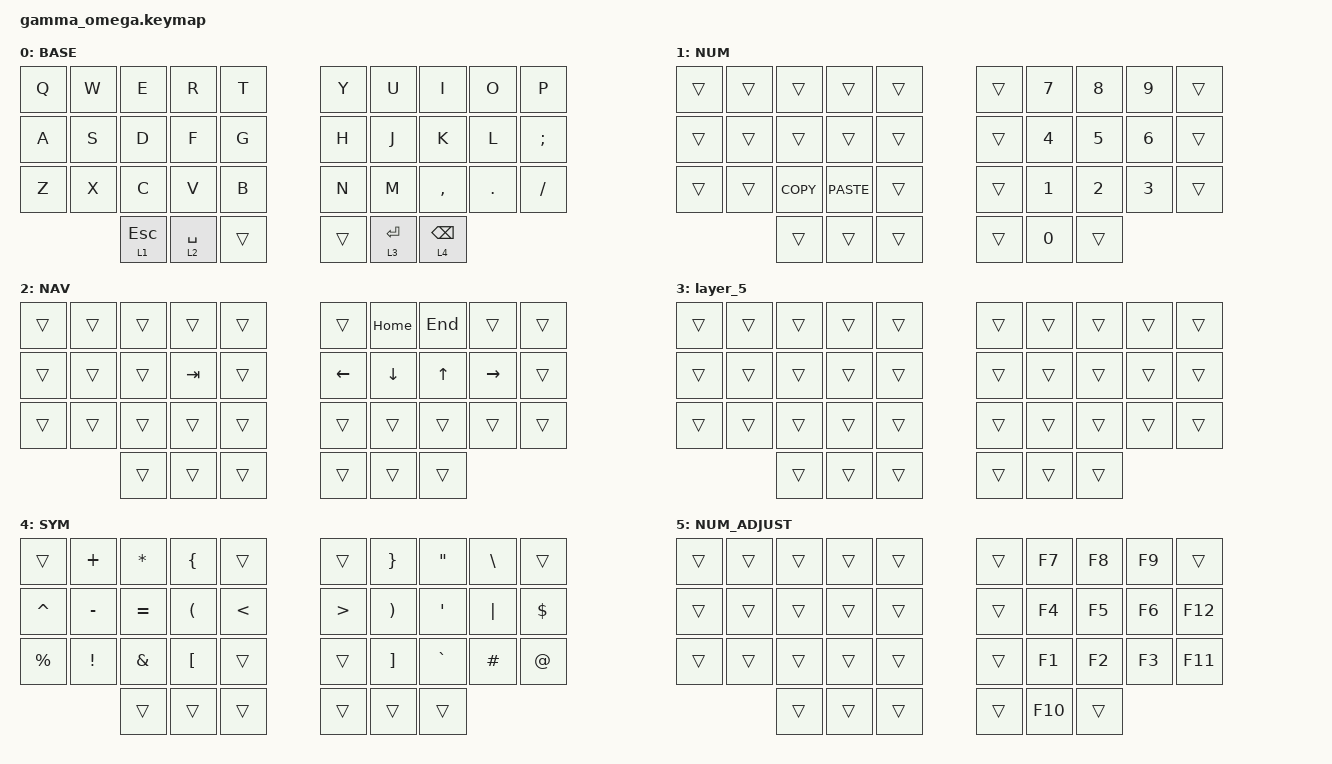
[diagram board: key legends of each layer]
#include <behaviors.dtsi>
#include <dt-bindings/zmk/keys.h>

/ {
    combos {
        compatible = "zmk,combos";

        L_Shift {
            bindings = <&kp LSHFT>;
            key-positions = <13 12>;
        };

        R_Shift {
            bindings = <&kp RSHIFT>;
            key-positions = <16 17>;
        };

        L_Ctrl {
            bindings = <&kp LCTRL>;
            key-positions = <12 11>;
        };

        R_Ctrl {
            bindings = <&kp RCTRL>;
            key-positions = <17 18>;
        };

        L_Gui {
            bindings = <&kp LEFT_GUI>;
            key-positions = <10 11>;
            timeout-ms = <70>;
        };

        R_Gui {
            bindings = <&kp RGUI>;
            key-positions = <19 18>;
            timeout-ms = <70>;
        };

        L_Alt {
            bindings = <&kp LALT>;
            key-positions = <10 13>;
        };

        R_Alt {
            bindings = <&kp RALT>;
            key-positions = <16 19>;
        };

        L_Gui_Ctrl {
            bindings = <&kp LG(RCTRL)>;
            key-positions = <10 11 12>;
        };

        R_Gui_Ctrl {
            bindings = <&kp RG(RCTRL)>;
            key-positions = <19 18 17>;
        };

        L_Ctrl_Shift {
            bindings = <&kp LC(LSHIFT)>;
            key-positions = <11 12 13>;
        };

        R_Ctrl_Shift {
            bindings = <&kp RC(RSHIFT)>;
            key-positions = <18 17 16>;
        };

        L_Gui_Alt {
            bindings = <&kp LG(LALT)>;
            key-positions = <10 11 13>;
        };

        R_Gui_Alt {
            bindings = <&kp LG(LALT)>;
            key-positions = <16 19 18>;
        };

        L_Alt_Shift {
            bindings = <&kp LA(LSHIFT)>;
            key-positions = <10 13 12>;
        };

        R_Alt_Shift {
            bindings = <&kp RA(RSHIFT)>;
            key-positions = <19 17 16>;
        };

        L_Gui_Shift {
            bindings = <&kp LG(LSHIFT)>;
            key-positions = <10 12>;
        };

        R_Gui_Shift {
            bindings = <&kp RG(RSHIFT)>;
            key-positions = <19 17>;
        };

        L_Ctrl_Alt {
            bindings = <&kp LC(LALT)>;
            key-positions = <11 13>;
        };

        R_Ctrl_Alt {
            bindings = <&kp RC(RALT)>;
            key-positions = <18 16>;
        };

        L_Gui_Ctrl_Shift {
            bindings = <&kp LG(LC(LEFT_SHIFT))>;
            key-positions = <20 21 22>;
        };

        R_Gui_Ctrl_Shift {
            bindings = <&kp RC(RG(RSHIFT))>;
            key-positions = <29 28 27>;
        };

        L_Ctrl_Shift_Alt {
            bindings = <&kp LC(LS(LALT))>;
            key-positions = <21 22 23>;
        };

        R_Ctrl_Shift_Alt {
            bindings = <&kp RS(RC(RALT))>;
            key-positions = <28 27 26>;
        };

        L_Gui_Ctrl_Alt {
            bindings = <&kp LG(LC(LALT))>;
            key-positions = <20 21 23>;
        };

        R_Gui_Ctrl_Alt {
            bindings = <&kp RC(RG(RALT))>;
            key-positions = <29 28 26>;
        };

        L_Gui_Shift_Alt {
            bindings = <&kp LG(LS(LALT))>;
            key-positions = <20 22 23>;
        };

        R_Gui_Shift_Alt {
            bindings = <&kp RS(RG(RALT))>;
            key-positions = <29 27 26>;
        };

        L_All_Mod {
            bindings = <&kp LS(LA(LC(LGUI)))>;
            key-positions = <20 21 22 23>;
        };

        R_All_Mods {
            bindings = <&kp RS(RA(RC(RGUI)))>;
            key-positions = <26 27 29 28>;
        };
    };

    keymap {
        compatible = "zmk,keymap";

        BASE {
            bindings = <
&kp Q         &kp W        &kp E   &kp R   &kp T        &kp Y            &kp U  &kp I      &kp O    &kp P
&kp A         &kp S        &kp D   &kp F   &kp G        &kp H            &kp J  &kp K      &kp L    &kp SEMI
&kp Z         &kp X        &kp C   &kp V   &kp B        &kp N            &kp M  &kp COMMA  &kp DOT  &kp SLASH
&lt 1 ESCAPE  &lt 2 SPACE  &trans  &trans  &lt 3 ENTER  &lt 4 BACKSPACE
            >;
        };

        NUM {
            bindings = <
&trans  &trans  &trans      &trans       &trans  &trans  &kp N7        &kp N8        &kp N9        &trans
&trans  &trans  &trans      &trans       &trans  &trans  &kp NUMBER_4  &kp N5        &kp NUMBER_6  &trans
&trans  &trans  &kp K_COPY  &kp K_PASTE  &trans  &trans  &kp NUMBER_1  &kp NUMBER_2  &kp NUMBER_3  &trans
&trans  &trans  &trans      &trans       &kp N0  &trans
            >;
        };

        NAV {
            bindings = <
&trans  &trans  &trans  &trans   &trans  &trans    &kp HOME  &kp END       &trans     &trans
&trans  &trans  &trans  &kp TAB  &trans  &kp LEFT  &kp DOWN  &kp UP_ARROW  &kp RIGHT  &trans
&trans  &trans  &trans  &trans   &trans  &trans    &trans    &trans        &trans     &trans
&trans  &trans  &trans  &trans   &trans  &trans
            >;
        };

        layer_5 {
            bindings = <
&trans  &trans  &trans  &trans  &trans  &trans  &trans  &trans  &trans  &trans
&trans  &trans  &trans  &trans  &trans  &trans  &trans  &trans  &trans  &trans
&trans  &trans  &trans  &trans  &trans  &trans  &trans  &trans  &trans  &trans
&trans  &trans  &trans  &trans  &trans  &trans
            >;
        };

        SYM {
            bindings = <
&trans       &kp PLUS   &kp ASTRK  &kp LEFT_BRACE        &trans  &trans  &kp RIGHT_BRACE        &kp DOUBLE_QUOTES  &kp BACKSLASH  &trans
&kp CARET    &kp MINUS  &kp EQUAL  &kp LEFT_PARENTHESIS  &kp LT  &kp GT  &kp RIGHT_PARENTHESIS  &kp APOS           &kp PIPE       &kp DOLLAR
&kp PERCENT  &kp EXCL   &kp AMPS   &kp LEFT_BRACKET      &trans  &trans  &kp RIGHT_BRACKET      &kp GRAVE          &kp HASH       &kp AT
&trans       &trans     &trans     &trans                &trans  &trans
            >;
        };

        NUM_ADJUST {
            bindings = <
&trans  &trans  &trans  &trans  &trans   &trans  &kp F7  &kp F8  &kp F9  &trans
&trans  &trans  &trans  &trans  &trans   &trans  &kp F4  &kp F5  &kp F6  &kp F12
&trans  &trans  &trans  &trans  &trans   &trans  &kp F1  &kp F2  &kp F3  &kp F11
&trans  &trans  &trans  &trans  &kp F10  &trans
            >;
        };
    };

    conditional_layers {
        compatible = "zmk,conditional-layers";

        num_adjust {
            if-layers = <1 4>;
            then-layer = <5>;
        };
    };
};
